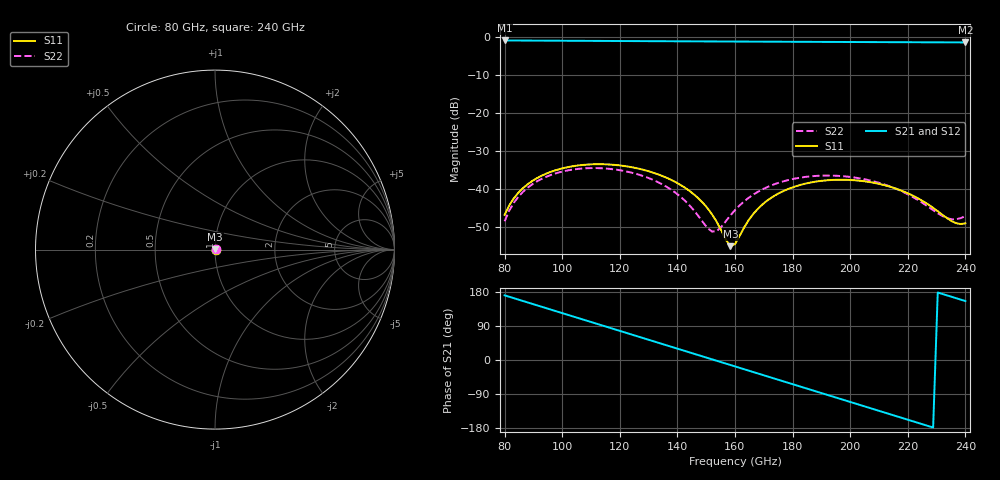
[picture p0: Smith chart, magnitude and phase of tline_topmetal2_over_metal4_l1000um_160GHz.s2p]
#  GHZ S DB R 50
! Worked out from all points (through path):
!   101 points, 80 GHz to 240 GHz, reference 50 ohm
!   highest |S21| = -0.82 dB at 80 GHz (marker M1); lowest = -1.3 dB at 240 GHz (marker M2)
!   group delay of S21, straight-line fit = 6.51 ps
!   lowest |S11| = -55.0 dB at 158.4 GHz (marker M3), VSWR 1.00, Z = 50.1 + j0.168 ohm
!   |S11| at or under -10 dB: start of sweep to end of sweep
!   |S22| runs from -51.2 to -34.4 dB; largest |S21 - S12| = 1e-13
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80  -46.77 6.1  -0.82 170.7  -0.82 170.7  -48.46 10.0
83.2  -42.40 -6.8  -0.83 163.2  -0.83 163.2  -43.57 -5.1
89.6  -37.83 -26.3  -0.86 148.1  -0.86 148.1  -38.71 -25.6
97.6  -35.03 -48.4  -0.89 129.4  -0.89 129.4  -35.86 -48.1
107.2  -33.61 -74.2  -0.92 106.9  -0.92 106.9  -34.54 -74.3
120  -33.74 -108.8  -0.97 76.8  -0.97 76.8  -35.00 -109.8
134.4  -36.41 -149.2  -1.02 43.1  -1.02 43.1  -38.58 -153.2
144  -40.34 -178.9  -1.05 20.6  -1.05 20.6  -44.09 168.4
152  -46.59 147.9  -1.08 1.8  -1.08 1.8  -51.17 91.5
153.6  -48.53 137.6  -1.08 -1.9  -1.08 -1.9  -51.06 65.8
158.4  -55.01 71.3  -1.10 -13.2  -1.10 -13.2  -46.91 12.4
160  -54.46 36.0  -1.10 -16.9  -1.10 -16.9  -45.51 1.8
164.8  -48.09 -18.7  -1.12 -28.2  -1.12 -28.2  -42.24 -21.8
171.2  -42.99 -48.7  -1.14 -43.2  -1.14 -43.2  -39.45 -45.5
179.2  -39.73 -75.8  -1.16 -61.9  -1.16 -61.9  -37.46 -71.3
187.2  -38.11 -100.5  -1.19 -80.7  -1.19 -80.7  -36.55 -95.9
200  -37.57 -139.5  -1.23 -110.7  -1.23 -110.7  -36.77 -135.3
214.4  -39.48 174.2  -1.27 -144.4  -1.27 -144.4  -39.44 176.4
224  -42.59 137.5  -1.30 -166.9  -1.30 -166.9  -43.08 135.6
233.6  -47.62 81.1  -1.32 170.5  -1.32 170.5  -47.62 68.1
236.8  -48.97 51.1  -1.33 163.0  -1.33 163.0  -47.92 36.9
240  -48.99 17.1  -1.34 155.5  -1.34 155.5  -47.08 7.5
